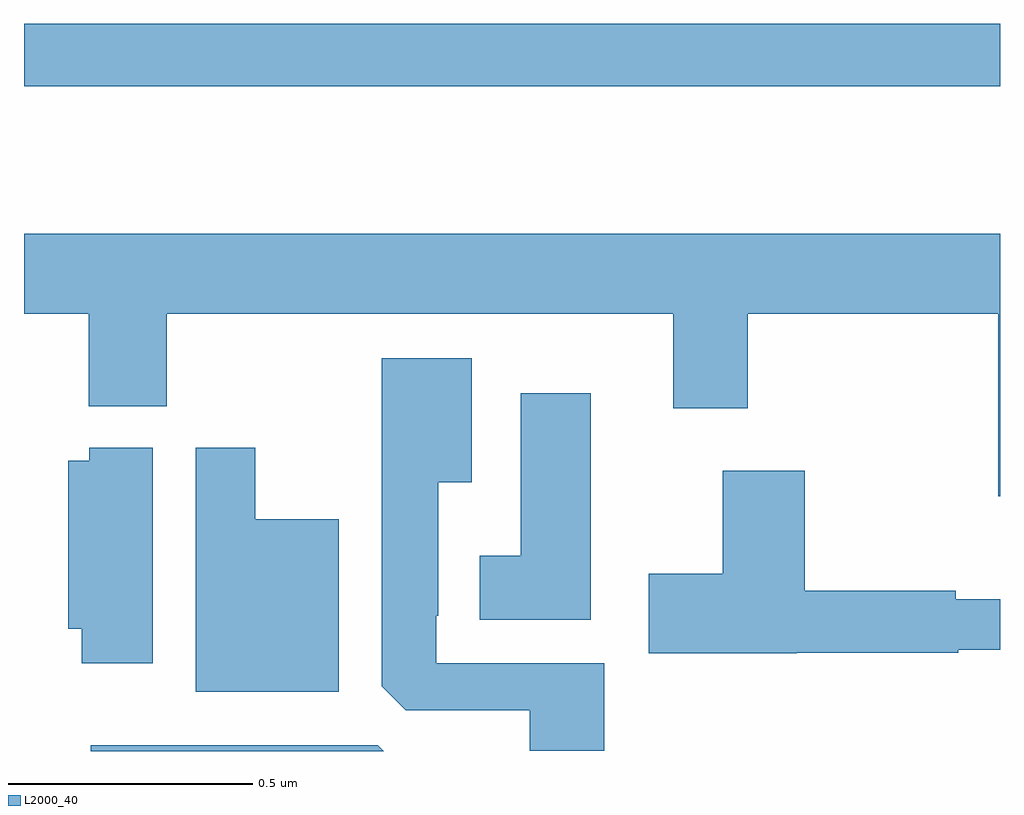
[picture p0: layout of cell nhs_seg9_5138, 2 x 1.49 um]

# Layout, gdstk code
import gdstk
lib = gdstk.Library(unit=1e-6, precision=1e-09)
def R(c, l, rs):  # rectangles x0, y0, x1, y1
    for r in rs: c.add(gdstk.rectangle(r[:2], r[2:], *l))
def P(c, l, *ps):  # polygons
    for p in ps: c.add(gdstk.Polygon(p, *l))
L2000_40 = (2000, 40)

nhs_seg9_5138 = lib.new_cell('nhs_seg9_5138')
R(nhs_seg9_5138, L2000_40, [(175,1220.862,177,1220.99)])
P(nhs_seg9_5138, L2000_40, [(177,1220.56),(175,1220.56),(175,1220.396),(175.133,1220.396),(175.133,1220.207),(175.293,1220.207),(175.293,1220.396),(176.33,1220.396),(176.33,1220.202),(176.483,1220.202),(176.483,1220.396),(176.996,1220.396),(176.996,1220.022),(177,1220.022)],
  [(176.189,1219.68),(175.845,1219.68),(175.845,1219.777),(175.849,1219.777),(175.849,1220.051),(175.918,1220.051),(175.918,1220.305),(175.733,1220.305),(175.733,1219.633),(175.782,1219.584),(176.036,1219.584),(176.036,1219.501),(176.189,1219.501)],
  [(176.161,1220.233),(176.018,1220.233),(176.018,1219.9),(175.934,1219.9),(175.934,1219.769),(176.161,1219.769)],
  [(175.264,1220.122),(175.134,1220.122),(175.134,1220.095),(175.091,1220.095),(175.091,1219.751),(175.118,1219.751),(175.118,1219.68),(175.264,1219.68)],
  [(175.645,1219.975),(175.474,1219.975),(175.474,1220.122),(175.352,1220.122),(175.352,1219.622),(175.645,1219.622)],
  [(176.583,1219.701),(176.914,1219.701),(176.914,1219.708),(177,1219.708),(177,1219.811),(176.909,1219.811),(176.909,1219.829),(176.6,1219.829),(176.6,1220.074),(176.432,1220.074),(176.432,1219.863),(176.28,1219.863),(176.28,1219.7),(176.583,1219.7)],
  [(175.725,1219.512),(175.137,1219.512),(175.137,1219.5),(175.737,1219.5)])

lib.write_gds('nhs_seg9_5138.gds')
